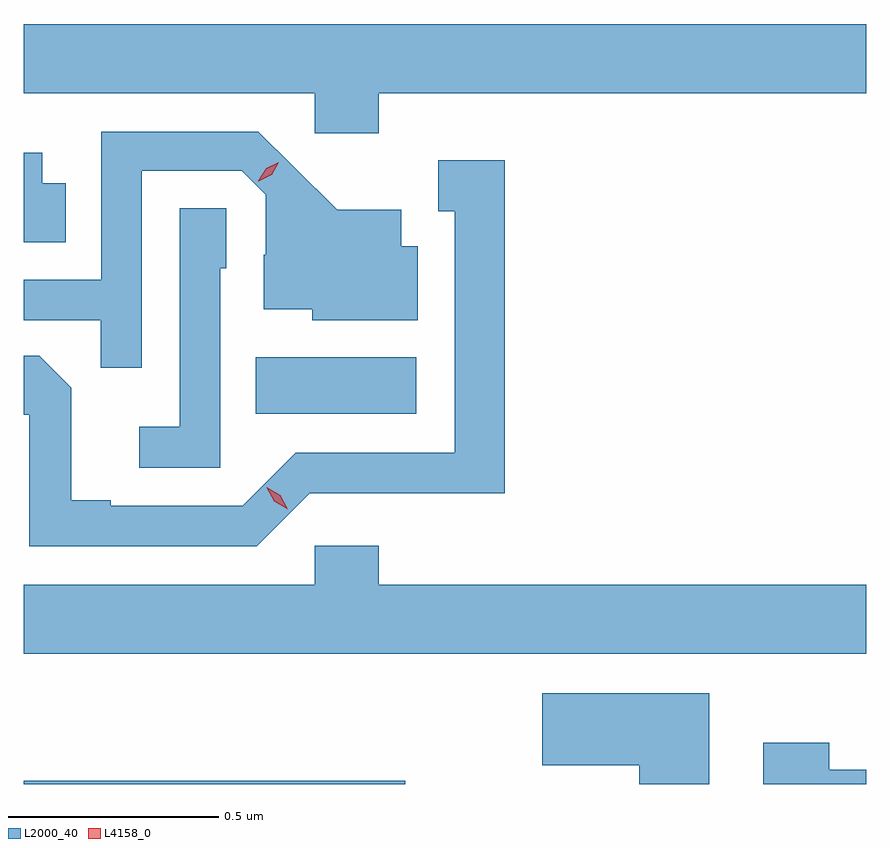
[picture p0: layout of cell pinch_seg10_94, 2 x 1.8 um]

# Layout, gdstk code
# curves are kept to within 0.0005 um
import gdstk
lib = gdstk.Library(unit=1e-6, precision=1e-09)
def R(c, l, rs):  # rectangles x0, y0, x1, y1
    for r in rs: c.add(gdstk.rectangle(r[:2], r[2:], *l))
def P(c, l, *ps):  # polygons
    for p in ps: c.add(gdstk.Polygon(p, *l))
L2000_40 = (2000, 40)
L4158_0 = (4158, 0)

pinch_seg10_94 = lib.new_cell('pinch_seg10_94')
R(pinch_seg10_94, L2000_40, [(724.673,1290.683,725.578,1290.691), (725.224,1291.562,725.605,1291.696)])
P(pinch_seg10_94, L2000_40, [(725.516,1292.324),(726.673,1292.324),(726.673,1292.488),(724.673,1292.488),(724.673,1292.324),(725.364,1292.324),(725.364,1292.229),(725.516,1292.229)],
  [(724.953,1292.139),(725.19,1292.139),(725.247,1292.082),(725.247,1291.94),(725.243,1291.94),(725.243,1291.811),(725.358,1291.811),(725.358,1291.784),(725.608,1291.784),(725.608,1291.96),(725.569,1291.96),(725.569,1292.047),(725.417,1292.047),(725.23,1292.232),(724.857,1292.232),(724.857,1291.881),(724.673,1291.881),(724.673,1291.785),(724.855,1291.785),(724.855,1291.672),(724.953,1291.672)],
  [(724.772,1292.11),(724.717,1292.11),(724.717,1292.182),(724.673,1292.182),(724.673,1291.97),(724.772,1291.97)],
  [(725.352,1291.374),(725.574,1291.374),(725.574,1291.373),(725.815,1291.373),(725.815,1292.164),(725.657,1292.164),(725.657,1292.043),(725.696,1292.043),(725.696,1291.47),(725.319,1291.47),(725.193,1291.344),(724.879,1291.344),(724.879,1291.357),(724.785,1291.357),(724.785,1291.624),(724.709,1291.7),(724.673,1291.7),(724.673,1291.56),(724.686,1291.56),(724.686,1291.248),(725.226,1291.248)],
  [(725.139,1291.908),(725.154,1291.908),(725.154,1292.051),(725.043,1292.051),(725.043,1291.531),(724.947,1291.531),(724.947,1291.434),(725.139,1291.434)],
  [(726.673,1291.156),(725.516,1291.156),(725.516,1291.249),(725.364,1291.249),(725.364,1291.156),(724.673,1291.156),(724.673,1290.992),(726.673,1290.992)],
  [(726.301,1290.898),(725.904,1290.898),(725.904,1290.728),(726.134,1290.728),(726.134,1290.683),(726.301,1290.683)],
  [(726.673,1290.717),(726.585,1290.717),(726.585,1290.781),(726.429,1290.781),(726.429,1290.683),(726.673,1290.683)])
P(pinch_seg10_94, L4158_0, [(725.299,1291.336),(725.268,1291.355),(725.25,1291.387),(725.25,1291.388),(725.25,1291.388),(725.282,1291.369),(725.3,1291.336),(725.3,1291.336)],
  [(725.23,1292.115),(725.23,1292.116),(725.248,1292.145),(725.278,1292.16),(725.278,1292.16),(725.278,1292.16),(725.261,1292.13),(725.231,1292.115)])

lib.write_gds('pinch_seg10_94.gds')
